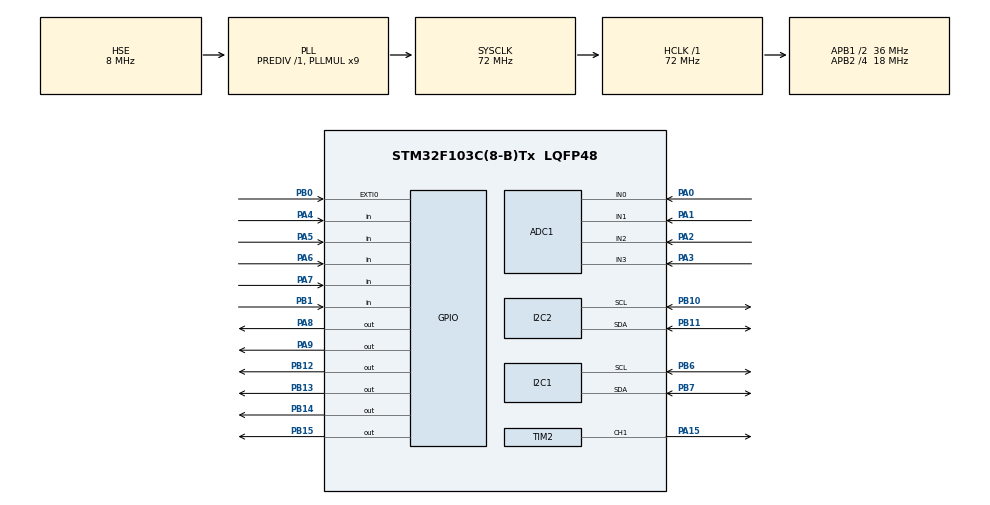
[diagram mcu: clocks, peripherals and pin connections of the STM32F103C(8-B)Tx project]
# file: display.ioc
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ADC1.Channel-0\#ChannelRegularConversion=ADC_CHANNEL_0
ADC1.Channel-1\#ChannelRegularConversion=ADC_CHANNEL_1
ADC1.Channel-2\#ChannelRegularConversion=ADC_CHANNEL_2
ADC1.Channel-3\#ChannelRegularConversion=ADC_CHANNEL_3
ADC1.ContinuousConvMode=ENABLE
ADC1.NbrOfConversion=4
ADC1.NbrOfConversionFlag=1
ADC1.Rank-0\#ChannelRegularConversion=1
ADC1.Rank-1\#ChannelRegularConversion=2
ADC1.Rank-2\#ChannelRegularConversion=3
ADC1.Rank-3\#ChannelRegularConversion=4
ADC1.SamplingTime-0\#ChannelRegularConversion=ADC_SAMPLETIME_71CYCLES_5
ADC1.SamplingTime-1\#ChannelRegularConversion=ADC_SAMPLETIME_71CYCLES_5
ADC1.SamplingTime-2\#ChannelRegularConversion=ADC_SAMPLETIME_71CYCLES_5
ADC1.SamplingTime-3\#ChannelRegularConversion=ADC_SAMPLETIME_71CYCLES_5
ADC1.master=1
Dma.ADC1.0.Direction=DMA_PERIPH_TO_MEMORY
Dma.ADC1.0.Instance=DMA1_Channel1
Dma.ADC1.0.MemDataAlignment=DMA_MDATAALIGN_WORD
Dma.ADC1.0.MemInc=DMA_MINC_ENABLE
Dma.ADC1.0.Mode=DMA_CIRCULAR
Dma.ADC1.0.PeriphDataAlignment=DMA_PDATAALIGN_WORD
Dma.ADC1.0.PeriphInc=DMA_PINC_DISABLE
Dma.ADC1.0.Priority=DMA_PRIORITY_LOW
Dma.Request0=ADC1
I2C1.I2C_Mode=I2C_Fast
Mcu.Family=STM32F1
Mcu.Name=STM32F103C(8-B)Tx
Mcu.Package=LQFP48
NVIC.DMA1_Channel1_IRQn=true\:0\:0\:false\:false\:true\:false\:true
NVIC.EXTI0_IRQn=true\:1\:0\:true\:false\:true\:true\:true
NVIC.I2C1_ER_IRQn=true\:0\:0\:false\:false\:true\:true\:true
NVIC.I2C2_ER_IRQn=true\:0\:0\:false\:false\:true\:true\:true
NVIC.PriorityGroup=NVIC_PRIORITYGROUP_4
PA0-WKUP.Signal=ADCx_IN0
PA1.Signal=ADCx_IN1
PA15.Signal=S_TIM2_CH1_ETR
PA2.Signal=ADCx_IN2
PA3.Signal=ADCx_IN3
PA4.GPIO_PuPd=GPIO_PULLUP
PA4.Signal=GPIO_Input
PA5.GPIO_PuPd=GPIO_PULLUP
PA5.Signal=GPIO_Input
PA6.GPIO_PuPd=GPIO_PULLUP
PA6.Signal=GPIO_Input
PA7.GPIO_PuPd=GPIO_PULLUP
PA7.Signal=GPIO_Input
PA8.Signal=GPIO_Output
PA9.Signal=GPIO_Output
PB0.GPIO_ModeDefaultEXTI=GPIO_MODE_IT_FALLING
PB0.GPIO_PuPd=GPIO_PULLUP
PB0.Signal=GPXTI0
PB1.GPIO_PuPd=GPIO_PULLUP
PB1.Signal=GPIO_Input
PB10.Mode=I2C
PB10.Signal=I2C2_SCL
PB11.Mode=I2C
PB11.Signal=I2C2_SDA
PB12.Signal=GPIO_Output
PB13.Signal=GPIO_Output
PB14.Signal=GPIO_Output
PB15.Signal=GPIO_Output
PB6.Mode=I2C
PB6.Signal=I2C1_SCL
PB7.Mode=I2C
PB7.Signal=I2C1_SDA
PD0-OSC_IN.Mode=HSE-External-Oscillator
PD0-OSC_IN.Signal=RCC_OSC_IN
PD1-OSC_OUT.Mode=HSE-External-Oscillator
PD1-OSC_OUT.Signal=RCC_OSC_OUT
ProjectManager.HeapSize=0x200
ProjectManager.StackSize=0x400
ProjectManager.TargetToolchain=STM32CubeIDE
RCC.ADCPresc=RCC_ADCPCLK2_DIV8
RCC.AHBFreq_Value=72000000
RCC.APB1CLKDivider=RCC_HCLK_DIV2
RCC.APB1Freq_Value=36000000
RCC.APB1TimFreq_Value=72000000
RCC.APB2CLKDivider=RCC_HCLK_DIV4
RCC.APB2Freq_Value=18000000
RCC.APB2TimFreq_Value=36000000
RCC.HCLKFreq_Value=72000000
RCC.PLLMUL=RCC_PLL_MUL9
RCC.PLLSourceVirtual=RCC_PLLSOURCE_HSE
RCC.SYSCLKFreq_VALUE=72000000
RCC.SYSCLKSource=RCC_SYSCLKSOURCE_PLLCLK
RCC.USBFreq_Value=72000000
SH.ADCx_IN0.0=ADC1_IN0,IN0
SH.ADCx_IN1.0=ADC1_IN1,IN1
SH.ADCx_IN2.0=ADC1_IN2,IN2
SH.ADCx_IN3.0=ADC1_IN3,IN3
SH.S_TIM2_CH1_ETR.0=TIM2_CH1,PWM Generation1 CH1
TIM2.Channel-PWM\ Generation1\ CH1=TIM_CHANNEL_1
TIM2.Period=255
VP_SYS_VS_ND.Mode=No_Debug
board=custom

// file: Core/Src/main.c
/* USER CODE BEGIN Header */
/**
  ******************************************************************************
  * @file           : main.c
  * @brief          : Main program body
  ******************************************************************************
  * @attention
  *
  * Copyright (c) 2021 STMicroelectronics.
  * All rights reserved.
  *
  * This software is licensed under terms that can be found in the LICENSE file
  * in the root directory of this software component.
  * If no LICENSE file comes with this software, it is provided AS-IS.
  *
  ******************************************************************************
  */
/* USER CODE END Header */
#include "main.h"

/* USER CODE BEGIN Includes */
#include "ssd1306.h"
#include "fonts.h"
#include <math.h>
/* USER CODE END Includes */

ADC_HandleTypeDef hadc1;
DMA_HandleTypeDef hdma_adc1;

I2C_HandleTypeDef hi2c1;
I2C_HandleTypeDef hi2c2;

TIM_HandleTypeDef htim2;

void SystemClock_Config(void);
static void MX_GPIO_Init(void);
static void MX_I2C1_Init(void);
static void MX_I2C2_Init(void);
static void MX_DMA_Init(void);
static void MX_ADC1_Init(void);
static void MX_TIM2_Init(void);

/* USER CODE BEGIN 0 */

float Uzobrazene = 0;
float Izobrazene = 0;
float Mzobrazene = 0;
float teplota = 0;
uint8_t dataDAC [3] = {0x40, 0x0, 0x0};
uint32_t ADCout [4];

//mód zobrazení
uint16_t setmodeflag = 0;

//polling
uint8_t tlacitko [4];
uint8_t poslednistav [4];
uint8_t debounce [5];

//menu 1
uint8_t cursor = 0;
uint8_t menupage = 0;
float setvoltage = 0;
float setcurrent = 0;
uint8_t pointer_p1 = 0x01;

//servisní veličiny
float Uadc = 3.3;		//vstupní napětí ADC
float offset = 0.0;		//offset ADC
float napetiBUCK[16] = {0, 0, 0.79, 2.40, 3.52, 5.10, 5.90, 8.50, 8.80, 11.30, 12.20, 14.37, 14.97, 16.63, 17.40, 18.71};
uint8_t dataBUCK[16] = {0, 1, 2, 4, 3, 5, 6, 7, 8, 9, 10, 12, 11, 13, 14, 15};

//chlazení
uint16_t ventilatorper = 0;  //výkon ventilátoru v %
uint8_t ventilatorhyst = 0;	//hystereze ventilatoru

//start
void start()
{
	SSD1306_Clear();
	SSD1306_GotoXY (25,25);
	SSD1306_Puts("zdrojOS", &Font_11x18, 1);
	SSD1306_UpdateScreen();
	HAL_Delay(1000);
	HAL_GPIO_WritePin(GPIOA, GPIO_PIN_8, 0);
	HAL_GPIO_WritePin(GPIOA, GPIO_PIN_9, 1);
}

//error
void error(uint8_t event)
{
	HAL_GPIO_WritePin(GPIOA, GPIO_PIN_8, 0);
	HAL_GPIO_WritePin(GPIOA, GPIO_PIN_9, 0);
	SSD1306_Clear();
	SSD1306_GotoXY (3,3);
	SSD1306_Puts("error:", &Font_11x18, 1);
	SSD1306_GotoXY (3,25);
	switch (event) {
		case 0:
			SSD1306_Puts("mereni tep.", &Font_11x18, 1);
			SSD1306_GotoXY (3,45);
			SSD1306_Puts("OK=>reset", &Font_11x18, 1);
			SSD1306_UpdateScreen();
			while(HAL_GPIO_ReadPin(GPIOA, GPIO_PIN_4) != 0)
			{
				HAL_Delay(1);
			}
			start();
			break;
		case 1:
			SSD1306_Puts("prehrati", &Font_11x18, 1);
			SSD1306_GotoXY (3,45);
			SSD1306_Puts("OK=>reset", &Font_11x18, 1);
			SSD1306_UpdateScreen();
			while(HAL_GPIO_ReadPin(GPIOA, GPIO_PIN_4) != 0)
			{
				HAL_Delay(1);
			}
			start();
			break;
		case 2:
			SSD1306_Puts("chyba U0", &Font_11x18, 1);
			SSD1306_GotoXY (3,45);
			SSD1306_Puts("OK=>reset", &Font_11x18, 1);
			SSD1306_UpdateScreen();
			while(HAL_GPIO_ReadPin(GPIOA, GPIO_PIN_4) != 0)
			{
				HAL_Delay(1);
			}
			start();
			break;
		case 3:
			SSD1306_Puts("chyba U1", &Font_11x18, 1);
			SSD1306_GotoXY (3,45);
			SSD1306_Puts("OK=>reset", &Font_11x18, 1);
			SSD1306_UpdateScreen();
			while(HAL_GPIO_ReadPin(GPIOA, GPIO_PIN_4) != 0)
			{
				HAL_Delay(1);
			}
			start();
			break;
		case 4:
			SSD1306_Puts("chyba U3", &Font_11x18, 1);
			SSD1306_GotoXY (3,45);
			SSD1306_Puts("OK=>reset", &Font_11x18, 1);
			SSD1306_UpdateScreen();
			while(HAL_GPIO_ReadPin(GPIOA, GPIO_PIN_4) != 0)
			{
				HAL_Delay(1);
			}
			start();
			break;
		default:
			break;

	}
}

//vstupy

void readbuttons()	//pulling tlačítek
{
	if(debounce[0] == 0)
	{
	  tlacitko[0] = HAL_GPIO_ReadPin(GPIOA, GPIO_PIN_4);
	  if(tlacitko[0] != poslednistav[0])
	  {
		  poslednistav[0] = tlacitko[0];
		  if(tlacitko[0] == 0)
		  {
			setmodeflag = 500;
			debounce[0] = 10;
			if(cursor == 0)
			{
				  cursor = 0x04;
			}else{
			  if(cursor>0x08)
			  {
				  cursor = 0;
				  setmodeflag = 10;
			  }
			  if((cursor>0)&&(cursor<0x10))
			  {
				  cursor = (cursor<<4);
			  }
			}
		 }
	  }
	}
	if(debounce[1] == 0)
	{
	  tlacitko[1] = HAL_GPIO_ReadPin(GPIOA, GPIO_PIN_5);
	  if(tlacitko[1] != poslednistav[1])
	  {
		  poslednistav[1] = tlacitko[1];
		  if(tlacitko[1] == 0)
		  {
			  setmodeflag = 500;
			  debounce[1] = 10;
				if(cursor == 0)
				{
					  cursor = 0x04;
				}
				else
				{
					switch (cursor) {
						case 0x80:
							cursor = 0x10;
							break;
						case 0x08:
							cursor = 0x01;
							break;
						default:
							cursor *= 2;
							break;
					}
				}
		  }
	  }
	}
	if(debounce[2] == 0)
	{
	  tlacitko[2] = HAL_GPIO_ReadPin(GPIOA, GPIO_PIN_6);
	  if(tlacitko[2] != poslednistav[2])
	  {
		  poslednistav[2] = tlacitko[2];
		  if(tlacitko[2] == 0)
		  {
			setmodeflag = 500;
			debounce[2] = 10;
			if(cursor == 0)
			{
				  cursor = 0x04;
			}
			else
			{
				switch (cursor) {
					case 0x01:
						cursor = 0x08;
						break;
					case 0x10:
						cursor = 0x80;
						break;
					default:
						cursor = cursor>>1;
						break;
				}

			}
		  }
	  }
	}
	if(debounce[3] == 0)
	{
	  tlacitko[3] = HAL_GPIO_ReadPin(GPIOA, GPIO_PIN_7);
	  if(tlacitko[3] != poslednistav[3])
	  {
		  poslednistav[3] = tlacitko[3];
		  if(tlacitko[3] == 0)
		  {
			  if((setmodeflag > 0)||(menupage>0))
			  {
				  menupage++;
			  }
			  setmodeflag = 500;
			  debounce[3] = 10;
			  if(menupage>1)
			  {
				  menupage = 0;
				  setmodeflag = 10;
			  }
		  }
	  }
	}

}

//pomocné převodní funkce

char* trimm(float f)
{
	static char trimmed [4];

	f *= 100;
	uint16_t g = f;
	itoa(g, trimmed, 10);

	if(g<10)
	{
		trimmed[3] = trimmed[0];
		trimmed[2] = '0';
		trimmed[1] = '0';
		trimmed[0] = ' ';

	}
	if((g<100)&&(g>9))
	{
		trimmed[3] = trimmed[1];
		trimmed[2] = trimmed[0];
		trimmed[1] = '0';
		trimmed[0] = ' ';

	}
	if((g<1000)&&(g>99))
	{
		for(uint8_t i = 3; i>0; i--)
		{
			trimmed[i] = trimmed[i-1];
		}
		trimmed[0] = ' ';

	}

	return trimmed;
}
float ADCtoVoltage(uint16_t ADCvalue)
{
	float voltage = 0;
	voltage = ((ADCvalue*Uadc)/4095) + offset;
	return voltage;
}
float Voltagetoteperatur(float napeti)
{
	  napeti = (Uadc/ napeti)-1;
	  napeti = 1/(((log(napeti))/3380)+(1/298.5));
	  napeti = napeti - 273.15; // K => C
	  return napeti;
}

//funkce vykreslování displaje

void drawlogoC (uint8_t x, uint8_t y){
	  SSD1306_DrawLine((5+x), (y+5), (5+x), (y+11), 1);
	  SSD1306_DrawLine((6+x), (y+3), (6+x), (y+13), 1);
	  SSD1306_DrawLine((7+x), (y+3), (7+x), (y+5), 1);
	  SSD1306_DrawLine((7+x), (y+11), (7+x), (y+13), 1);
	  SSD1306_DrawLine((8+x), (y+14), (10+x), (y+14), 1);
	  SSD1306_DrawLine((8+x), (y+13), (10+x), (y+13), 1);
	  SSD1306_DrawLine((8+x), (y+2), (10+x), (y+2), 1);
	  SSD1306_DrawLine((8+x), (y+3), (10+x), (y+3), 1);
	  SSD1306_DrawLine((11+x), (y+3), (11+x), (y+4), 1);
	  SSD1306_DrawLine((11+x), (y+13), (11+x), (y+12), 1);
	  SSD1306_DrawLine((12+x), (y+4), (12+x), (y+6), 1);
	  SSD1306_DrawLine((12+x), (y+12), (12+x), (y+10), 1);
}
void drawmenu1(uint8_t cursorm1, uint8_t cvcc, float x, float y)
{
	  SSD1306_Clear();
	  cursorm1 = ~cursorm1;
	  char* mecha = trimm(y);
	  SSD1306_GotoXY (26,3);
	  SSD1306_Putc (mecha[0], &Font_11x18, ((cursorm1 & 0x08)>>3));
	  SSD1306_GotoXY (37,3);
	  SSD1306_Putc (mecha[1], &Font_11x18, ((cursorm1 & 0x04)>>2));
	  SSD1306_GotoXY (48,3);
	  SSD1306_Putc(',', &Font_11x18, 1);
	  SSD1306_GotoXY (59,3);
	  SSD1306_Putc (mecha[2], &Font_11x18, ((cursorm1 & 0x02)>>1));
	  SSD1306_GotoXY (70,3);
	  SSD1306_Putc (mecha[3], &Font_11x18, (cursorm1 & 0x01));
	  SSD1306_GotoXY (107,3);
	  SSD1306_Putc('V', &Font_11x18, 1);
	  char* proud = trimm(x);
	  SSD1306_GotoXY (26,25);
	  SSD1306_Putc (proud[0], &Font_11x18, ((cursorm1 & 0x80)>>7));
	  SSD1306_GotoXY (37,25);
	  SSD1306_Putc (proud[1], &Font_11x18, ((cursorm1 & 0x40)>>6));
	  SSD1306_GotoXY (48,25);
	  SSD1306_Putc(',', &Font_11x18, 1);
	  SSD1306_GotoXY (59,25);
	  SSD1306_Putc (proud[2], &Font_11x18, ((cursorm1 & 0x20)>>5));
	  SSD1306_GotoXY (70,25);
	  SSD1306_Putc (proud[3], &Font_11x18, ((cursorm1 & 0x10)>>4));
	  SSD1306_GotoXY (107,25);
	  SSD1306_Putc('A', &Font_11x18, 1);
	  uint8_t xcvcc = 0;
	  uint8_t ycvcc = 0;
	  switch (cvcc) {
		case 1:
			  xcvcc = 81;
			  ycvcc = 45;
			  drawlogoC(92, ycvcc);
			  SSD1306_DrawLine((5+xcvcc), (ycvcc+2), (5+xcvcc), (ycvcc+6), 1);
			  SSD1306_DrawLine((13+xcvcc), (ycvcc+2), (13+xcvcc), (ycvcc+6), 1);
			  SSD1306_DrawLine((6+xcvcc), (ycvcc+2), (6+xcvcc), (ycvcc+11), 1);
			  SSD1306_DrawLine((12+xcvcc), (ycvcc+2), (12+xcvcc), (ycvcc+11), 1);
			  SSD1306_DrawLine((7+xcvcc), (ycvcc+6), (7+xcvcc), (ycvcc+13), 1);
			  SSD1306_DrawLine((11+xcvcc), (ycvcc+6), (11+xcvcc), (ycvcc+13), 1);
			  SSD1306_DrawLine((8+xcvcc), (ycvcc+11), (8+xcvcc), (ycvcc+14), 1);
			  SSD1306_DrawLine((10+xcvcc), (ycvcc+11), (10+xcvcc), (ycvcc+14), 1);
			  SSD1306_DrawPixel((9+xcvcc), (ycvcc+13), 1);
			  SSD1306_DrawPixel((9+xcvcc), (ycvcc+14), 1);
			break;
		case 2:
			  xcvcc = 20;
			  ycvcc = 45;
			  drawlogoC(xcvcc, ycvcc);
			  drawlogoC((xcvcc+10), ycvcc);
			break;
		default:
			break;
	}
	  if (cvcc) {
		  	  SSD1306_DrawLine((2+xcvcc), ycvcc , (25+xcvcc), ycvcc, 1);
		  	  SSD1306_DrawLine(xcvcc, (ycvcc+2), xcvcc, (ycvcc+15), 1);
		  	  SSD1306_DrawLine((2+xcvcc), (ycvcc+17), (25+xcvcc), (ycvcc+17), 1);
		  	  SSD1306_DrawLine((27+xcvcc), (ycvcc+2), (27+xcvcc), (ycvcc+15), 1);
		  	  SSD1306_DrawPixel((1+xcvcc), (ycvcc+1), 1);
		  	  SSD1306_DrawPixel((1+xcvcc), (ycvcc+16), 1);
		  	  SSD1306_DrawPixel((26+xcvcc), (ycvcc+1), 1);
		  	  SSD1306_DrawPixel((26+xcvcc), (ycvcc+16), 1);
	  }
	  SSD1306_UpdateScreen(); // update screen
}
void drawmenu2()
{
	uint16_t pz = 0;
	uint16_t temp = teplota;
	char pzc [2];
	char tempc [2];
	char ventc [2];
	itoa(temp, tempc, 10);
	itoa(ventilatorper, ventc, 10);
	pz = Uzobrazene* Izobrazene;
	itoa(pz, pzc, 10);
	SSD1306_Clear();
	SSD1306_GotoXY (10,3);
	SSD1306_Puts("Pz =", &Font_11x18, 1);
	SSD1306_GotoXY (65,3);
	SSD1306_Puts(pzc, &Font_11x18, 1);
	SSD1306_GotoXY (107,3);
	SSD1306_Putc('W', &Font_11x18, 1);
	SSD1306_GotoXY (10,25);
	SSD1306_Puts("tep=", &Font_11x18, 1);
	SSD1306_GotoXY (65,25);
	SSD1306_Puts(tempc, &Font_11x18, 1);
	SSD1306_GotoXY (107,25);
	SSD1306_Putc('C', &Font_11x18, 1);
	SSD1306_GotoXY (10,43);
	SSD1306_Puts("vent=", &Font_11x18, 1);
	SSD1306_GotoXY (65, 43);
	SSD1306_Puts(ventc, &Font_11x18, 1);
	SSD1306_GotoXY (107,43);
	SSD1306_Putc('%', &Font_11x18, 1);
	SSD1306_UpdateScreen(); // update screen

}

// výstupní elektrické veličiny

void ventilator(float temp)  //nastavení úrovně PWM ventilátoru
{
	// kontrola správnosti
	if((teplota > 100)||(teplota < 1))
	{
		error(0);
	}
	if(teplota > 70)
	{
		error(1);
	}

	//hystereze
	if(temp > 30)
	{
		ventilatorhyst = 1;
	}
	if(temp < 28)
	{
		ventilatorhyst = 0;
	}
	//výpočet v %
	if(ventilatorhyst == 1)
	{
		ventilatorper = ((temp - 25) * 2) + 50;
		if(ventilatorper > 100)
		{
			ventilatorper = 100;
		}
	}else
	{
		ventilatorper = 0;
	}
	//nastavení časovače v 8-bit
	TIM2->CCR1 = (ventilatorper*255)/100;
}
void setDAC1 (uint16_t data) // zapíše vpravo zarovnaná 12-bit data do DAC1 na I2C2
{
	dataDAC [1] = (data >> 4);
	dataDAC [2] = (data << 4) & 0xf0;
	HAL_I2C_Master_Transmit(&hi2c2, (0b1100001<<1), dataDAC, 3, 10);
}
void setDAC2 (uint16_t data) // zapíše vpravo zarovnaná 12-bit data do DAC1 na I2C2
{
	dataDAC [1] = (data >> 4);
	dataDAC [2] = (data << 4) & 0xf0;
	HAL_I2C_Master_Transmit(&hi2c1, (0b1100001<<1), dataDAC, 3, 10);
}
void setVout (float napeti)	 //řízení spínaného napěťového regulátoru  + příprava pro ADC
{
	uint16_t output;
	uint8_t i = 1;
	if(napeti>18.71)
	{
		HAL_GPIO_WritePin(GPIOA, GPIO_PIN_8, 1);
		HAL_GPIO_WritePin(GPIOA, GPIO_PIN_9, 0);
	}else{
		HAL_GPIO_WritePin(GPIOA, GPIO_PIN_8, 0);
		HAL_GPIO_WritePin(GPIOA, GPIO_PIN_9, 1);
		while(napetiBUCK[i]<napeti)
		{
			i++;
		}
		HAL_GPIO_WritePin(GPIOB, GPIO_PIN_12, (1&&(dataBUCK[i] & 0x08)));
		HAL_GPIO_WritePin(GPIOB, GPIO_PIN_13, (1&&(dataBUCK[i] & 0x04)));
		HAL_GPIO_WritePin(GPIOB, GPIO_PIN_14, (dataBUCK[i] & 0x02));
		HAL_GPIO_WritePin(GPIOB, GPIO_PIN_15, (dataBUCK[i] & 0x01));
	}
	output = (napeti*512)/Uadc;
	setDAC2(output);
}
void setIout(float proud)
{
	uint16_t output;
	output = (proud*4095)/Uadc;
	setDAC1(output);
}

//vektory přerušení

 void HAL_GPIO_EXTI_Callback(uint16_t GPIO_Pin)  //přerušení krok encoderu
{
	uint8_t direct = HAL_GPIO_ReadPin(GPIOB, GPIO_PIN_1);
	if(GPIO_Pin == GPIO_PIN_0)
	{
		if((setmodeflag > 0)&&(menupage == 0)){
		if(debounce[4] == 0)
		{
		int8_t i = 1;
		setmodeflag = 500;
		if(direct == 1)
		{
			i = -1;
		}
		switch (cursor) {
			case 0x10:
				setcurrent = setcurrent + (0.01 * i);
				break;
			case 0x20:
				setcurrent = setcurrent + (0.1 * i);
				break;
			case 0x40:
				setcurrent = setcurrent + i;
				break;
			case 0x80:
				setcurrent = setcurrent + (10*i);
				break;
			case 0x01:
				setvoltage = setvoltage + (0.01 * i);
				break;
			case 0x02:
				setvoltage = setvoltage + (0.1 * i);
				break;
			case 0x04:
				setvoltage = setvoltage + i;
				break;
			case 0x08:
				setvoltage = setvoltage + (10*i);
				break;
			default:
				break;
		}
		if(setvoltage < 0)
		{
			setvoltage = 0;
		}
		if(setcurrent < 0)
		{
			setcurrent = 0;
		}
		if(setcurrent > 3)
		{
			setcurrent = 3;
		}
		debounce[4] = 10;
		}
	}
	}
}
/* USER CODE END 0 */

int main(void)
{
  /* USER CODE BEGIN 1 */
	uint8_t refreshflag = 0;
  /* USER CODE END 1 */

  /* MCU Configuration--------------------------------------------------------*/

  /* Reset of all peripherals, Initializes the Flash interface and the Systick. */
  HAL_Init();

  /* Configure the system clock */
  SystemClock_Config();

  /* Initialize all configured peripherals */
  MX_GPIO_Init();
  MX_I2C1_Init();
  MX_I2C2_Init();
  MX_DMA_Init();
  MX_ADC1_Init();
  MX_TIM2_Init();
  /* USER CODE BEGIN 2 */
  SSD1306_Init();
  HAL_ADC_Start_DMA(&hadc1, ADCout, 4);
  HAL_TIM_PWM_Start(&htim2, TIM_CHANNEL_1);
  start();
  /* USER CODE END 2 */

  /* Infinite loop */
  /* USER CODE BEGIN WHILE */
  while (1)
  {

	  readbuttons();
	  if(setmodeflag>0) //display vstoupí do interaktivního módu
	  {
		  if(setmodeflag == 500)
		  {
			  switch (menupage) {
				case 1:
					drawmenu2();
					setmodeflag = 750;
					break;
				default:
					drawmenu1(cursor, 0, setcurrent , setvoltage);
					break;
			}
		  }

		  if(setmodeflag > 0)
		  {
			  setmodeflag--;
		  }
		  for(uint8_t i = 0; i<5; i++)
		  {
			  if(debounce[i] > 0)
			  {
				  debounce[i]--;
			  }
		  }
		  if(setmodeflag == 0)
		  {
			 menupage = 0;
			 setVout(setvoltage);
			 setIout(setcurrent);
			 refreshflag = 1;
		  }
		  HAL_Delay(2);
	  }
	  else
	  {
		  // není v setmode
		  uint8_t rezim = 0;
		  float U0 = 0;
		  float U1 = 0;
		  float U2 = 0;
		  U0 = ADCtoVoltage(ADCout[0])*8;
		  U1 = ADCtoVoltage(ADCout[1])*8;
		  U2 = ADCtoVoltage(ADCout[2]);
		  if(U1>2.5)
		  {
			  rezim = 2;

		  }
		  else
		  {
			  rezim = 1;
			  if(((setvoltage - (U0-U1)) > 0.05) | ((setvoltage - (U0-U1)) < -0.05))
				{
				  setVout(setvoltage+U1);
				}
		  }
		  if(U0>24)
		  {
			  error(2);
		  }
		  if(U1>24)
		  {
			  error(3);
		  }
		  if(U2>3)
		  {
			  error(4);
		  }
		  if(((Uzobrazene - (U0-U1))>0.02) | ((Uzobrazene - (U0-U1)) < -0.02))
		  {refreshflag = 1;}
		  if(((Izobrazene - U2)>0.02) | ((Izobrazene - U2) < -0.02))
		  {refreshflag = 1;}
		  if(rezim != Mzobrazene)
		  {refreshflag = 1;}
		  if(refreshflag > 0)  // pokud je příznak změny údajů na display obnoví display
		  {
			  Mzobrazene = rezim;
			  Uzobrazene = U0-U1;
			  Izobrazene = U2;
			  drawmenu1(0, Mzobrazene, Izobrazene , Uzobrazene);
			  refreshflag = 0;
		  }
	  }
	  teplota = Voltagetoteperatur(ADCtoVoltage(ADCout[3]));
	  ventilator(teplota);

    /* USER CODE END WHILE */

  }
}

void SystemClock_Config(void)
{
  RCC_OscInitTypeDef RCC_OscInitStruct = {0};
  RCC_ClkInitTypeDef RCC_ClkInitStruct = {0};
  RCC_PeriphCLKInitTypeDef PeriphClkInit = {0};

  /** Initializes the RCC Oscillators according to the specified parameters
  * in the RCC_OscInitTypeDef structure.
  */
  RCC_OscInitStruct.OscillatorType = RCC_OSCILLATORTYPE_HSE;
  RCC_OscInitStruct.HSEState = RCC_HSE_ON;
  RCC_OscInitStruct.HSEPredivValue = RCC_HSE_PREDIV_DIV1;
  RCC_OscInitStruct.HSIState = RCC_HSI_ON;
  RCC_OscInitStruct.PLL.PLLState = RCC_PLL_ON;
  RCC_OscInitStruct.PLL.PLLSource = RCC_PLLSOURCE_HSE;
  RCC_OscInitStruct.PLL.PLLMUL = RCC_PLL_MUL9;
  if (HAL_RCC_OscConfig(&RCC_OscInitStruct) != HAL_OK)
  {
    Error_Handler();
  }
  /** Initializes the CPU, AHB and APB buses clocks
  */
  RCC_ClkInitStruct.ClockType = RCC_CLOCKTYPE_HCLK|RCC_CLOCKTYPE_SYSCLK
                              |RCC_CLOCKTYPE_PCLK1|RCC_CLOCKTYPE_PCLK2;
  RCC_ClkInitStruct.SYSCLKSource = RCC_SYSCLKSOURCE_PLLCLK;
  RCC_ClkInitStruct.AHBCLKDivider = RCC_SYSCLK_DIV1;
  RCC_ClkInitStruct.APB1CLKDivider = RCC_HCLK_DIV2;
  RCC_ClkInitStruct.APB2CLKDivider = RCC_HCLK_DIV4;

  if (HAL_RCC_ClockConfig(&RCC_ClkInitStruct, FLASH_LATENCY_2) != HAL_OK)
  {
    Error_Handler();
  }
  PeriphClkInit.PeriphClockSelection = RCC_PERIPHCLK_ADC;
  PeriphClkInit.AdcClockSelection = RCC_ADCPCLK2_DIV8;
  if (HAL_RCCEx_PeriphCLKConfig(&PeriphClkInit) != HAL_OK)
  {
    Error_Handler();
  }
}

static void MX_ADC1_Init(void)
{

  ADC_ChannelConfTypeDef sConfig = {0};

  /** Common config
  */
  hadc1.Instance = ADC1;
  hadc1.Init.ScanConvMode = ADC_SCAN_ENABLE;
  hadc1.Init.ContinuousConvMode = ENABLE;
  hadc1.Init.DiscontinuousConvMode = DISABLE;
  hadc1.Init.ExternalTrigConv = ADC_SOFTWARE_START;
  hadc1.Init.DataAlign = ADC_DATAALIGN_RIGHT;
  hadc1.Init.NbrOfConversion = 4;
  if (HAL_ADC_Init(&hadc1) != HAL_OK)
  {
    Error_Handler();
  }
  /** Configure Regular Channel
  */
  sConfig.Channel = ADC_CHANNEL_0;
  sConfig.Rank = ADC_REGULAR_RANK_1;
  sConfig.SamplingTime = ADC_SAMPLETIME_71CYCLES_5;
  if (HAL_ADC_ConfigChannel(&hadc1, &sConfig) != HAL_OK)
  {
    Error_Handler();
  }
  /** Configure Regular Channel
  */
  sConfig.Channel = ADC_CHANNEL_1;
  sConfig.Rank = ADC_REGULAR_RANK_2;
  if (HAL_ADC_ConfigChannel(&hadc1, &sConfig) != HAL_OK)
  {
    Error_Handler();
  }
  /** Configure Regular Channel
  */
  sConfig.Channel = ADC_CHANNEL_2;
  sConfig.Rank = ADC_REGULAR_RANK_3;
  if (HAL_ADC_ConfigChannel(&hadc1, &sConfig) != HAL_OK)
  {
    Error_Handler();
  }
  /** Configure Regular Channel
  */
  sConfig.Channel = ADC_CHANNEL_3;
  sConfig.Rank = ADC_REGULAR_RANK_4;
  if (HAL_ADC_ConfigChannel(&hadc1, &sConfig) != HAL_OK)
  {
    Error_Handler();
  }

}

static void MX_I2C1_Init(void)
{

  hi2c1.Instance = I2C1;
  hi2c1.Init.ClockSpeed = 400000;
  hi2c1.Init.DutyCycle = I2C_DUTYCYCLE_2;
  hi2c1.Init.OwnAddress1 = 0;
  hi2c1.Init.AddressingMode = I2C_ADDRESSINGMODE_7BIT;
  hi2c1.Init.DualAddressMode = I2C_DUALADDRESS_DISABLE;
  hi2c1.Init.OwnAddress2 = 0;
  hi2c1.Init.GeneralCallMode = I2C_GENERALCALL_DISABLE;
  hi2c1.Init.NoStretchMode = I2C_NOSTRETCH_DISABLE;
  if (HAL_I2C_Init(&hi2c1) != HAL_OK)
  {
    Error_Handler();
  }

}

static void MX_I2C2_Init(void)
{

  hi2c2.Instance = I2C2;
  hi2c2.Init.ClockSpeed = 100000;
  hi2c2.Init.DutyCycle = I2C_DUTYCYCLE_2;
  hi2c2.Init.OwnAddress1 = 0;
  hi2c2.Init.AddressingMode = I2C_ADDRESSINGMODE_7BIT;
  hi2c2.Init.DualAddressMode = I2C_DUALADDRESS_DISABLE;
  hi2c2.Init.OwnAddress2 = 0;
  hi2c2.Init.GeneralCallMode = I2C_GENERALCALL_DISABLE;
  hi2c2.Init.NoStretchMode = I2C_NOSTRETCH_DISABLE;
  if (HAL_I2C_Init(&hi2c2) != HAL_OK)
  {
    Error_Handler();
  }

}

static void MX_TIM2_Init(void)
{

  TIM_MasterConfigTypeDef sMasterConfig = {0};
  TIM_OC_InitTypeDef sConfigOC = {0};

  htim2.Instance = TIM2;
  htim2.Init.Prescaler = 0;
  htim2.Init.CounterMode = TIM_COUNTERMODE_UP;
  htim2.Init.Period = 255;
  htim2.Init.ClockDivision = TIM_CLOCKDIVISION_DIV1;
  htim2.Init.AutoReloadPreload = TIM_AUTORELOAD_PRELOAD_DISABLE;
  if (HAL_TIM_PWM_Init(&htim2) != HAL_OK)
  {
    Error_Handler();
  }
  sMasterConfig.MasterOutputTrigger = TIM_TRGO_RESET;
  sMasterConfig.MasterSlaveMode = TIM_MASTERSLAVEMODE_DISABLE;
  if (HAL_TIMEx_MasterConfigSynchronization(&htim2, &sMasterConfig) != HAL_OK)
  {
    Error_Handler();
  }
  sConfigOC.OCMode = TIM_OCMODE_PWM1;
  sConfigOC.Pulse = 0;
  sConfigOC.OCPolarity = TIM_OCPOLARITY_HIGH;
  sConfigOC.OCFastMode = TIM_OCFAST_DISABLE;
  if (HAL_TIM_PWM_ConfigChannel(&htim2, &sConfigOC, TIM_CHANNEL_1) != HAL_OK)
  {
    Error_Handler();
  }
  HAL_TIM_MspPostInit(&htim2);

}

static void MX_DMA_Init(void)
{

  /* DMA controller clock enable */
  __HAL_RCC_DMA1_CLK_ENABLE();

  /* DMA interrupt init */
  /* DMA1_Channel1_IRQn interrupt configuration */
  HAL_NVIC_SetPriority(DMA1_Channel1_IRQn, 0, 0);
  HAL_NVIC_EnableIRQ(DMA1_Channel1_IRQn);

}

static void MX_GPIO_Init(void)
{
  GPIO_InitTypeDef GPIO_InitStruct = {0};

  /* GPIO Ports Clock Enable */
  __HAL_RCC_GPIOD_CLK_ENABLE();
  __HAL_RCC_GPIOA_CLK_ENABLE();
  __HAL_RCC_GPIOB_CLK_ENABLE();

  /*Configure GPIO pin Output Level */
  HAL_GPIO_WritePin(GPIOB, GPIO_PIN_12|GPIO_PIN_13|GPIO_PIN_14|GPIO_PIN_15, GPIO_PIN_RESET);

  /*Configure GPIO pin Output Level */
  HAL_GPIO_WritePin(GPIOA, GPIO_PIN_8|GPIO_PIN_9, GPIO_PIN_RESET);

  /*Configure GPIO pins : PA4 PA5 PA6 PA7 */
  GPIO_InitStruct.Pin = GPIO_PIN_4|GPIO_PIN_5|GPIO_PIN_6|GPIO_PIN_7;
  GPIO_InitStruct.Mode = GPIO_MODE_INPUT;
  GPIO_InitStruct.Pull = GPIO_PULLUP;
  HAL_GPIO_Init(GPIOA, &GPIO_InitStruct);

  /*Configure GPIO pin : PB0 */
  GPIO_InitStruct.Pin = GPIO_PIN_0;
  GPIO_InitStruct.Mode = GPIO_MODE_IT_FALLING;
  GPIO_InitStruct.Pull = GPIO_PULLUP;
  HAL_GPIO_Init(GPIOB, &GPIO_InitStruct);

  /*Configure GPIO pin : PB1 */
  GPIO_InitStruct.Pin = GPIO_PIN_1;
  GPIO_InitStruct.Mode = GPIO_MODE_INPUT;
  GPIO_InitStruct.Pull = GPIO_PULLUP;
  HAL_GPIO_Init(GPIOB, &GPIO_InitStruct);

  /*Configure GPIO pins : PB12 PB13 PB14 PB15 */
  GPIO_InitStruct.Pin = GPIO_PIN_12|GPIO_PIN_13|GPIO_PIN_14|GPIO_PIN_15;
  GPIO_InitStruct.Mode = GPIO_MODE_OUTPUT_PP;
  GPIO_InitStruct.Pull = GPIO_NOPULL;
  GPIO_InitStruct.Speed = GPIO_SPEED_FREQ_LOW;
  HAL_GPIO_Init(GPIOB, &GPIO_InitStruct);

  /*Configure GPIO pins : PA8 PA9 */
  GPIO_InitStruct.Pin = GPIO_PIN_8|GPIO_PIN_9;
  GPIO_InitStruct.Mode = GPIO_MODE_OUTPUT_PP;
  GPIO_InitStruct.Pull = GPIO_NOPULL;
  GPIO_InitStruct.Speed = GPIO_SPEED_FREQ_LOW;
  HAL_GPIO_Init(GPIOA, &GPIO_InitStruct);

  /* EXTI interrupt init*/
  HAL_NVIC_SetPriority(EXTI0_IRQn, 1, 0);
  HAL_NVIC_EnableIRQ(EXTI0_IRQn);

}

void Error_Handler(void)
{
  __disable_irq();
  while (1)
  {
  }
}
